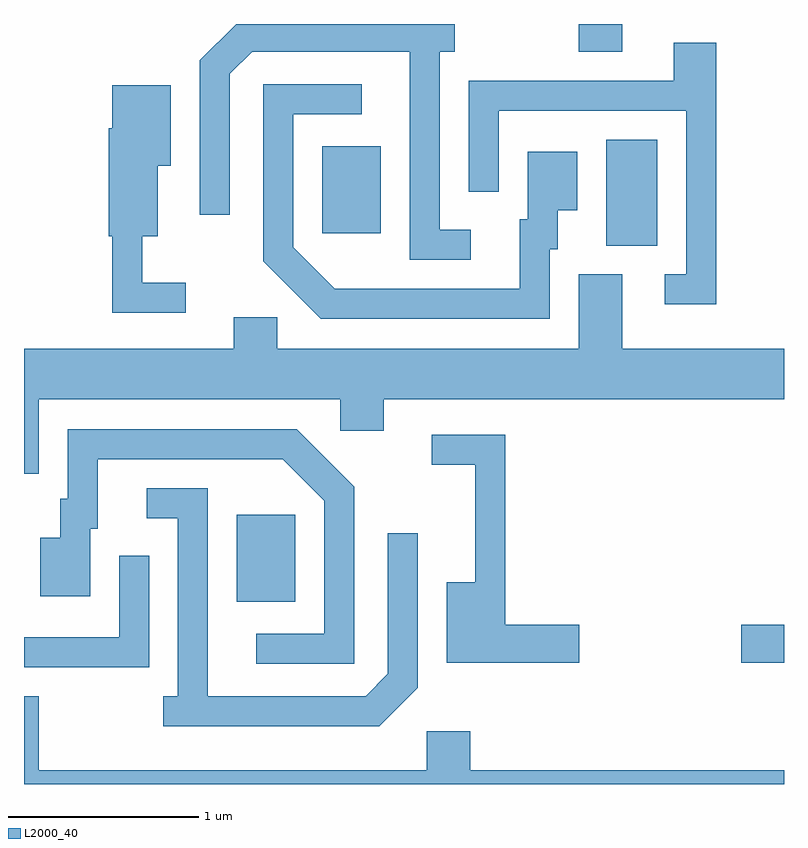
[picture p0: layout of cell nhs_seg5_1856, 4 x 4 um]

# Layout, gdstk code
import gdstk
lib = gdstk.Library(unit=1e-6, precision=1e-09)
def R(c, l, rs):  # rectangles x0, y0, x1, y1
    for r in rs: c.add(gdstk.rectangle(r[:2], r[2:], *l))
def P(c, l, *ps):  # polygons
    for p in ps: c.add(gdstk.Polygon(p, *l))
L2000_40 = (2000, 40)

nhs_seg5_1856 = lib.new_cell('nhs_seg5_1856')
R(nhs_seg5_1856, L2000_40, [(243.386,1488.711,243.611,1488.909), (240.731,1489.031,241.039,1489.489), (242.676,1490.906,242.944,1491.464), (241.181,1490.971,241.489,1491.429), (242.531,1491.926,242.759,1492.072)])
P(nhs_seg5_1856, L2000_40, [(241.963,1490.989),(241.799,1490.989),(241.799,1491.926),(241.878,1491.926),(241.878,1492.072),(240.727,1492.072),(240.536,1491.882),(240.536,1491.068),(240.694,1491.068),(240.694,1491.809),(240.812,1491.926),(241.641,1491.926),(241.641,1490.831),(241.963,1490.831)],
  [(243.254,1491.974),(243.031,1491.974),(243.031,1491.774),(241.951,1491.774),(241.951,1491.188),(242.109,1491.188),(242.109,1491.616),(243.096,1491.616),(243.096,1490.754),(242.983,1490.754),(242.983,1490.596),(243.254,1490.596)],
  [(242.379,1490.886),(242.419,1490.886),(242.419,1491.091),(242.524,1491.091),(242.524,1491.399),(242.261,1491.399),(242.261,1491.044),(242.221,1491.044),(242.221,1490.679),(241.247,1490.679),(241.029,1490.897),(241.029,1491.596),(241.388,1491.596),(241.388,1491.754),(240.871,1491.754),(240.871,1490.824),(241.174,1490.521),(242.379,1490.521)],
  [(240.463,1490.709),(240.234,1490.709),(240.234,1490.956),(240.314,1490.956),(240.314,1491.326),(240.384,1491.326),(240.384,1491.749),(240.076,1491.749),(240.076,1491.524),(240.056,1491.524),(240.056,1490.956),(240.076,1490.956),(240.076,1490.551),(240.463,1490.551)],
  [(239.689,1490.096),(241.276,1490.096),(241.276,1489.931),(241.504,1489.931),(241.504,1490.096),(243.611,1490.096),(243.611,1490.364),(242.759,1490.364),(242.759,1490.754),(242.531,1490.754),(242.531,1490.364),(240.944,1490.364),(240.944,1490.529),(240.716,1490.529),(240.716,1490.364),(239.611,1490.364),(239.611,1489.706),(239.689,1489.706)],
  [(241.349,1489.637),(241.047,1489.939),(239.841,1489.939),(239.841,1489.574),(239.801,1489.574),(239.801,1489.369),(239.696,1489.369),(239.696,1489.061),(239.959,1489.061),(239.959,1489.416),(239.999,1489.416),(239.999,1489.781),(240.974,1489.781),(241.191,1489.564),(241.191,1488.864),(240.833,1488.864),(240.833,1488.706),(241.349,1488.706)],
  [(242.534,1488.909),(242.144,1488.909),(242.144,1489.909),(241.758,1489.909),(241.758,1489.751),(241.986,1489.751),(241.986,1489.134),(241.836,1489.134),(241.836,1488.711),(242.534,1488.711)],
  [(241.684,1488.579),(241.684,1489.393),(241.526,1489.393),(241.526,1488.652),(241.409,1488.534),(240.579,1488.534),(240.579,1489.629),(240.258,1489.629),(240.258,1489.471),(240.421,1489.471),(240.421,1488.534),(240.343,1488.534),(240.343,1488.376),(241.482,1488.376)],
  [(240.269,1489.273),(240.111,1489.273),(240.111,1488.844),(239.611,1488.844),(239.611,1488.686),(240.269,1488.686)],
  [(243.611,1488.144),(241.959,1488.144),(241.959,1488.349),(241.731,1488.349),(241.731,1488.144),(239.689,1488.144),(239.689,1488.534),(239.611,1488.534),(239.611,1488.072),(243.611,1488.072)])

lib.write_gds('nhs_seg5_1856.gds')
